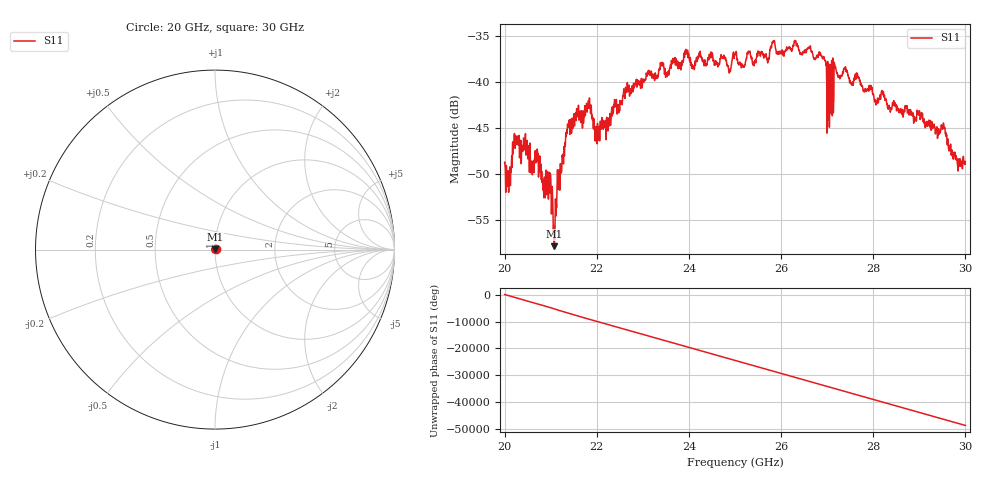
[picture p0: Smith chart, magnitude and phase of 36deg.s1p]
#  HZ  S  RI  R  50.00
! Rohde & Schwarz ZVA40 4Ports - Version 3.90 - 1145.1110k42 SN: 100403
! Date: 2023-10-03 12:51:53
! Measurement: S12
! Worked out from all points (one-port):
!   5001 points, 20 GHz to 30 GHz, reference 50 ohm
!   lowest |S11| = -57.9 dB at 21.07 GHz (marker M1), VSWR 1.00, Z = 49.9 + j0.117 ohm
!   |S11| at or under -10 dB: start of sweep to end of sweep
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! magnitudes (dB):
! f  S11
! 20 GHz  -48.8
! 20.09 GHz  -50.3
! 20.22 GHz  -47.2
! 20.46 GHz  -47.1
! 20.95 GHz  -52.5
! 21.07 GHz  -57.9
! 21.25 GHz  -48.0
! 21.36 GHz  -45.5
! 21.56 GHz  -43.7
! 21.83 GHz  -42.7
! 22.01 GHz  -44.5
! 22.5 GHz  -42.6
! 23.12 GHz  -39.1
! 23.75 GHz  -37.9
! 23.94 GHz  -36.8
! 24.87 GHz  -39.0
! 25 GHz  -37.0
! 25.17 GHz  -38.2
! 25.82 GHz  -35.7
! 26.25 GHz  -36.3
! 26.89 GHz  -37.4
! 27.04 GHz  -39.6
! 27.2 GHz  -38.8
! 27.5 GHz  -39.8
! 28.75 GHz  -43.0
! 29.52 GHz  -44.6
! 29.7 GHz  -48.0
! 30 GHz  -48.7
